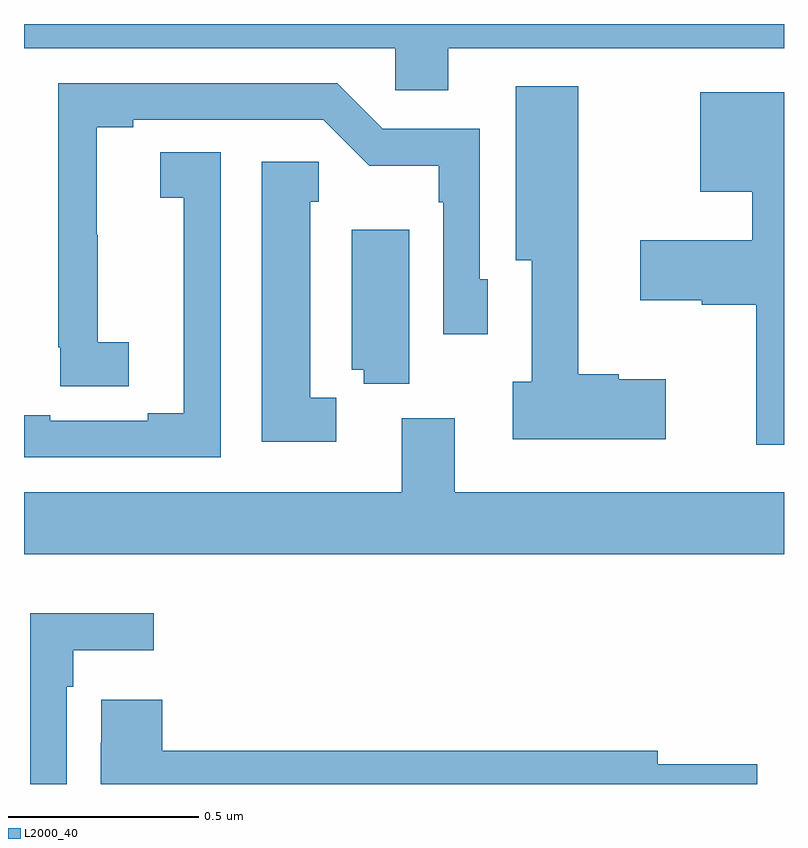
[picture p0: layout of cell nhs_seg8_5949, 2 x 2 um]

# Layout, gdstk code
import gdstk
lib = gdstk.Library(unit=1e-6, precision=1e-09)
def P(c, l, *ps):  # polygons
    for p in ps: c.add(gdstk.Polygon(p, *l))
L2000_40 = (2000, 40)

nhs_seg8_5949 = lib.new_cell('nhs_seg8_5949')
P(nhs_seg8_5949, L2000_40, [(191.116,1113.836),(192,1113.836),(192,1113.9),(190,1113.9),(190,1113.836),(190.977,1113.836),(190.977,1113.726),(191.116,1113.726)],
  [(190.276,1113.062),(190.194,1113.062),(190.194,1113.345),(190.192,1113.345),(190.192,1113.628),(190.288,1113.628),(190.288,1113.648),(190.788,1113.648),(190.909,1113.527),(191.091,1113.527),(191.091,1113.431),(191.103,1113.431),(191.103,1113.084),(191.22,1113.084),(191.22,1113.228),(191.199,1113.228),(191.199,1113.624),(190.944,1113.624),(190.824,1113.744),(190.09,1113.744),(190.09,1113.049),(190.096,1113.049),(190.096,1112.947),(190.276,1112.947)],
  [(191.689,1112.965),(191.565,1112.965),(191.565,1112.978),(191.458,1112.978),(191.458,1113.736),(191.294,1113.736),(191.294,1113.278),(191.336,1113.278),(191.336,1112.958),(191.286,1112.958),(191.286,1112.807),(191.689,1112.807)],
  [(192,1113.721),(191.78,1113.721),(191.78,1113.458),(191.917,1113.458),(191.917,1113.331),(191.622,1113.331),(191.622,1113.173),(191.783,1113.173),(191.783,1113.161),(191.927,1113.161),(191.927,1112.793),(192,1112.793)],
  [(190.518,1113.563),(190.359,1113.563),(190.359,1113.443),(190.42,1113.443),(190.42,1113.139),(190.421,1113.139),(190.421,1112.876),(190.325,1112.876),(190.325,1112.856),(190.069,1112.856),(190.069,1112.87),(190,1112.87),(190,1112.76),(190.518,1112.76)],
  [(190.822,1112.916),(190.753,1112.916),(190.753,1113.432),(190.775,1113.432),(190.775,1113.538),(190.625,1113.538),(190.625,1112.801),(190.822,1112.801)],
  [(191.014,1113.358),(190.862,1113.358),(190.862,1112.99),(190.894,1112.99),(190.894,1112.953),(191.014,1112.953)],
  [(192,1112.668),(191.134,1112.668),(191.134,1112.863),(190.994,1112.863),(190.994,1112.668),(190,1112.668),(190,1112.504),(192,1112.504)],
  [(190.113,1112.156),(190.129,1112.156),(190.129,1112.252),(190.342,1112.252),(190.342,1112.35),(190.017,1112.35),(190.017,1111.9),(190.113,1111.9)],
  [(191.929,1111.952),(191.668,1111.952),(191.668,1111.988),(190.364,1111.988),(190.364,1112.122),(190.203,1112.122),(190.203,1112.009),(190.202,1112.009),(190.202,1111.9),(191.929,1111.9)])

lib.write_gds('nhs_seg8_5949.gds')
